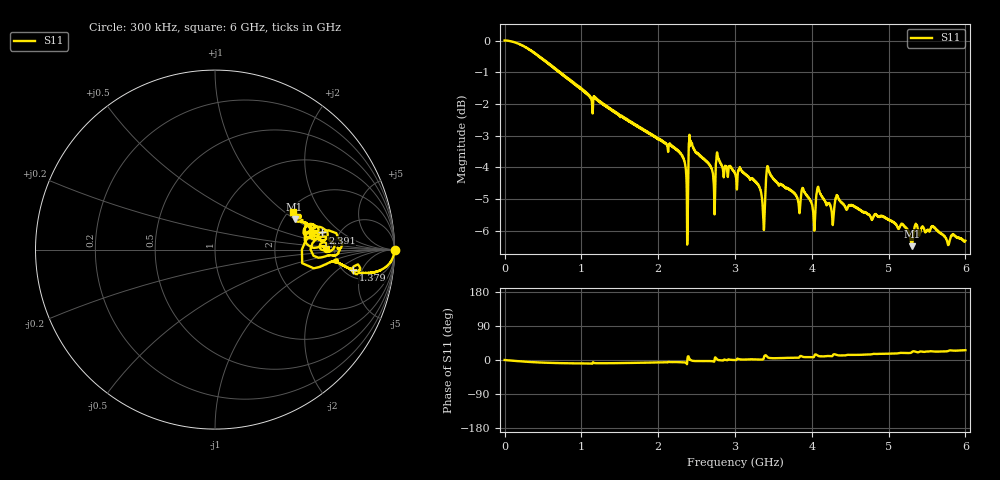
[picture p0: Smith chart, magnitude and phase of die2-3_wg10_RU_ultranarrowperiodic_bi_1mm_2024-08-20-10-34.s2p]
!Keysight Technologies,P9374A,MY57304198,A.17.20.09
!Date: Tuesday, August 20, 2024 10:34:57
!Correction: S11(C  1-Port  )
!S21(C  1-Port  )
!S12(Off)
!S22(Off)
!S2P File: Measurements: S11, S21, S12, S22:
# Hz S  dB  R 50
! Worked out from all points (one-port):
!   6000 points, 300 kHz to 6 GHz, reference 50 ohm
!   lowest |S11| = -6.5 dB at 5.303 GHz (marker M1), VSWR 2.80, Z = 115 + j49.7 ohm
!   |S11| at or under -10 dB: nowhere
!   S11 on the Smith chart (normalised r, x): 300 kHz: open; 1.379 GHz: 5.99, -3.48; 2.391 GHz: 3.71, +1.12; 6 GHz: 2.11, +1.16
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300000  0.00 -0.0  -200.00 45.0  -200.00 45.0  -200.00 45.0
4.363509e8  -0.47 -6.3  -200.00 45.0  -200.00 45.0  -200.00 45.0
1.000417e9  -1.54 -9.0  -200.00 45.0  -200.00 45.0  -200.00 45.0
1.379461e9  -2.17 -8.4  -200.00 45.0  -200.00 45.0  -200.00 45.0
2.000533e9  -3.11 -6.3  -200.00 45.0  -200.00 45.0  -200.00 45.0
2.346574e9  -3.85 -6.4  -200.00 45.0  -200.00 45.0  -200.00 45.0
2.390579e9  -4.35 9.1  -200.00 45.0  -200.00 45.0  -200.00 45.0
2.428583e9  -3.22 -0.8  -200.00 45.0  -200.00 45.0  -200.00 45.0
2.716617e9  -4.28 -3.6  -200.00 45.0  -200.00 45.0  -200.00 45.0
2.781625e9  -3.70 -0.1  -200.00 45.0  -200.00 45.0  -200.00 45.0
3.00065e9  -4.18 0.0  -200.00 45.0  -200.00 45.0  -200.00 45.0
3.34169e9  -4.81 1.3  -200.00 45.0  -200.00 45.0  -200.00 45.0
3.373694e9  -5.89 4.3  -200.00 45.0  -200.00 45.0  -200.00 45.0
3.407698e9  -4.25 11.2  -200.00 45.0  -200.00 45.0  -200.00 45.0
3.504709e9  -4.38 4.7  -200.00 45.0  -200.00 45.0  -200.00 45.0
4.000767e9  -5.16 7.6  -200.00 45.0  -200.00 45.0  -200.00 45.0
4.063774e9  -4.82 13.3  -200.00 45.0  -200.00 45.0  -200.00 45.0
4.161786e9  -5.02 9.6  -200.00 45.0  -200.00 45.0  -200.00 45.0
4.306802e9  -5.00 14.5  -200.00 45.0  -200.00 45.0  -200.00 45.0
5.000883e9  -5.65 16.7  -200.00 45.0  -200.00 45.0  -200.00 45.0
5.302919e9  -6.48 20.7  -200.00 45.0  -200.00 45.0  -200.00 45.0
6e9  -6.31 25.9  -200.00 45.0  -200.00 45.0  -200.00 45.0
